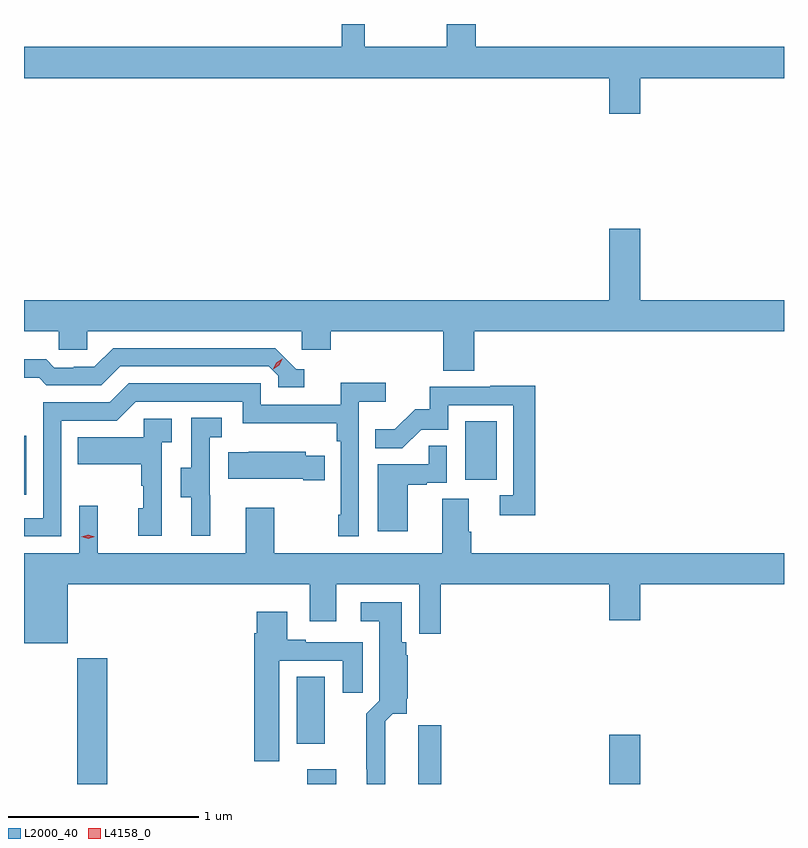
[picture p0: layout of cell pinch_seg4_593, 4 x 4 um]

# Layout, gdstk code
import gdstk
lib = gdstk.Library(unit=1e-6, precision=1e-09)
def R(c, l, rs):  # rectangles x0, y0, x1, y1
    for r in rs: c.add(gdstk.rectangle(r[:2], r[2:], *l))
def P(c, l, *ps):  # polygons
    for p in ps: c.add(gdstk.Polygon(p, *l))
L2000_40 = (2000, 40)
L4158_0 = (4158, 0)

pinch_seg4_593 = lib.new_cell('pinch_seg4_593')
R(pinch_seg4_593, L2000_40, [(1049.32,781.117,1049.48,781.78), (1050.533,781.117,1050.685,781.195), (1051.115,781.117,1051.238,781.426), (1052.12,781.117,1052.284,781.375), (1050.476,781.329,1050.625,781.682), (1049.041,782.64,1049.052,782.95), (1051.364,782.718,1051.528,783.025)])
P(pinch_seg4_593, L2000_40, [(1052.12,784.644),(1052.284,784.644),(1052.284,784.832),(1053.041,784.832),(1053.041,784.996),(1051.418,784.996),(1051.418,785.117),(1051.265,785.117),(1051.265,784.996),(1050.835,784.996),(1050.835,785.117),(1050.714,785.117),(1050.714,784.996),(1049.041,784.996),(1049.041,784.832),(1052.12,784.832)],
  [(1051.412,783.5),(1053.041,783.5),(1053.041,783.664),(1052.284,783.664),(1052.284,784.039),(1052.12,784.039),(1052.12,783.664),(1049.041,783.664),(1049.041,783.5),(1049.223,783.5),(1049.223,783.402),(1049.373,783.402),(1049.373,783.5),(1050.504,783.5),(1050.504,783.402),(1050.656,783.402),(1050.656,783.5),(1051.247,783.5),(1051.247,783.292),(1051.412,783.292)],
  [(1050.517,783.3),(1050.474,783.3),(1050.363,783.411),(1049.51,783.411),(1049.411,783.312),(1049.304,783.312),(1049.304,783.309),(1049.201,783.309),(1049.159,783.352),(1049.041,783.352),(1049.041,783.255),(1049.12,783.255),(1049.159,783.216),(1049.448,783.216),(1049.547,783.315),(1050.33,783.315),(1050.378,783.267),(1050.378,783.204),(1050.517,783.204)],
  [(1049.238,783.03),(1049.529,783.03),(1049.628,783.129),(1050.192,783.129),(1050.192,783.017),(1050.688,783.017),(1050.688,782.921),(1050.708,782.921),(1050.708,782.533),(1050.696,782.533),(1050.696,782.421),(1050.804,782.421),(1050.804,783.128),(1050.946,783.128),(1050.946,783.23),(1050.707,783.23),(1050.707,783.114),(1050.288,783.114),(1050.288,783.225),(1049.591,783.225),(1049.492,783.126),(1049.142,783.126),(1049.142,782.517),(1049.041,782.517),(1049.041,782.421),(1049.238,782.421)],
  [(1051.733,783.212),(1051.495,783.212),(1051.495,783.207),(1051.177,783.207),(1051.177,783.09),(1051.1,783.09),(1050.993,782.983),(1050.889,782.983),(1050.889,782.884),(1051.033,782.884),(1051.131,782.982),(1051.275,782.982),(1051.275,783.111),(1051.617,783.111),(1051.617,782.637),(1051.545,782.637),(1051.545,782.532),(1051.733,782.532)],
  [(1050.02,782.637),(1050.018,782.637),(1050.018,782.941),(1050.082,782.941),(1050.082,783.044),(1049.922,783.044),(1049.922,782.781),(1049.867,782.781),(1049.867,782.626),(1049.921,782.626),(1049.921,782.424),(1050.02,782.424)],
  [(1049.766,782.915),(1049.818,782.915),(1049.818,783.039),(1049.67,783.039),(1049.67,782.941),(1049.323,782.941),(1049.323,782.801),(1049.658,782.801),(1049.658,782.687),(1049.668,782.687),(1049.668,782.568),(1049.642,782.568),(1049.642,782.424),(1049.766,782.424)],
  [(1051.06,782.691),(1051.16,782.691),(1051.16,782.703),(1051.266,782.703),(1051.266,782.897),(1051.171,782.897),(1051.171,782.799),(1050.902,782.799),(1050.902,782.448),(1051.06,782.448)],
  [(1050.623,782.845),(1050.525,782.845),(1050.525,782.866),(1050.223,782.866),(1050.223,782.863),(1050.115,782.863),(1050.115,782.723),(1050.512,782.723),(1050.512,782.716),(1050.623,782.716)],
  [(1049.272,782.168),(1050.545,782.168),(1050.545,781.974),(1050.685,781.974),(1050.685,782.168),(1051.12,782.168),(1051.12,781.908),(1051.235,781.908),(1051.235,782.168),(1052.12,782.168),(1052.12,781.98),(1052.284,781.98),(1052.284,782.168),(1053.041,782.168),(1053.041,782.332),(1051.394,782.332),(1051.394,782.444),(1051.381,782.444),(1051.381,782.618),(1051.241,782.618),(1051.241,782.332),(1050.357,782.332),(1050.357,782.572),(1050.209,782.572),(1050.209,782.332),(1049.429,782.332),(1049.429,782.581),(1049.331,782.581),(1049.331,782.332),(1049.041,782.332),(1049.041,781.859),(1049.272,781.859)],
  [(1050.943,781.448),(1050.981,781.487),(1051.055,781.487),(1051.055,781.562),(1051.061,781.568),(1051.061,781.794),(1051.052,781.794),(1051.052,781.863),(1051.03,781.863),(1051.03,782.074),(1050.813,782.074),(1050.813,781.973),(1050.911,781.973),(1050.911,781.556),(1050.841,781.486),(1050.841,781.195),(1050.845,781.195),(1050.845,781.117),(1050.943,781.117)],
  [(1050.385,781.767),(1050.719,781.767),(1050.719,781.596),(1050.823,781.596),(1050.823,781.863),(1050.523,781.863),(1050.523,781.876),(1050.427,781.876),(1050.427,782.023),(1050.266,782.023),(1050.266,781.91),(1050.254,781.91),(1050.254,781.236),(1050.385,781.236)])
P(pinch_seg4_593, L4158_0, [(1049.378,782.409),(1049.342,782.419),(1049.342,782.419),(1049.342,782.419),(1049.378,782.429),(1049.413,782.419),(1049.414,782.419),(1049.413,782.419)],
  [(1050.354,783.301),(1050.354,783.302),(1050.369,783.334),(1050.4,783.354),(1050.4,783.354),(1050.4,783.354),(1050.384,783.321),(1050.354,783.301)])

lib.write_gds('pinch_seg4_593.gds')
